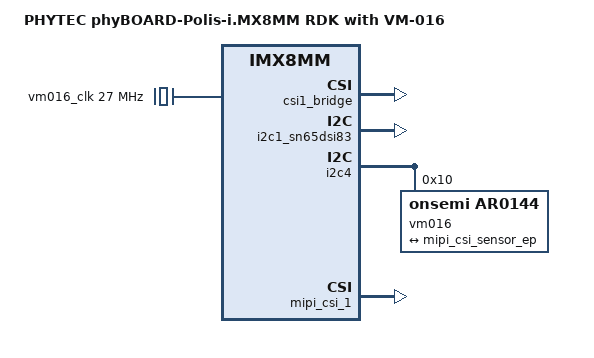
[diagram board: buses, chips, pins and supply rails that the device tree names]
// SPDX-License-Identifier: GPL-2.0
/*
 * Copyright (C) 2021 PHYTEC Messtechnik GmbH
 * Author: Stefan Riedmueller <s.riedmueller@phytec.de>
 */

/dts-v1/;

#include "imx8mm-phycore-som.dtsi"
#include "imx8mm-phyboard-polis.dtsi"
#include "imx8mm-phyboard-polis-peb-av-010.dtsi"
#include "imx8mm-phyboard-polis-peb-eval-01.dtsi"

/ {
	model = "PHYTEC phyBOARD-Polis-i.MX8MM RDK with VM-016";
	compatible = "phytec,imx8mm-phyboard-polis",
		     "phytec,imx8mm-phycore-som","fsl,imx8mm";

	vm016_clk: vm016-ext-clk {
		#clock-cells = <0>;
		compatible = "fixed-clock";
		clock-frequency = <27000000>;
	};
};

&csi1_bridge {
	status = "okay";
};

&flash0 {
	status = "okay";
};

&i2c1_sn65dsi83 {
	status = "okay";
};

&i2c4 {
	status = "okay";

	vm016: camera@10 {
		#address-cells = <0x1>;
		#size-cells = <0x0>;

		compatible = "onsemi,ar0144";
		reg = <0x10>;
		clock-names = "ext";
		clocks = <&vm016_clk>;

		port@0 {
			reg = <0>;

			vm016_ep: endpoint {
				remote-endpoint = <&mipi_csi_sensor_ep>;
				bus-type = <4>; /* MIPI CSI-2 D-PHY */
				data-lanes = <1 2>;
				clock-lanes = <0>;
				clock-noncontinuous = <1>;
				onsemi,t-hs-prep = <1>;
				onsemi,t-clk-post = <9>;
			};
		};
	};
};

&mipi_csi_1 {
	fsl,csis-hs-settle = <9>;
	status = "okay";
};

&mipi_csi_sensor_ep {
	remote-endpoint = <&vm016_ep>;
	data-lanes = <1 2>;
};
